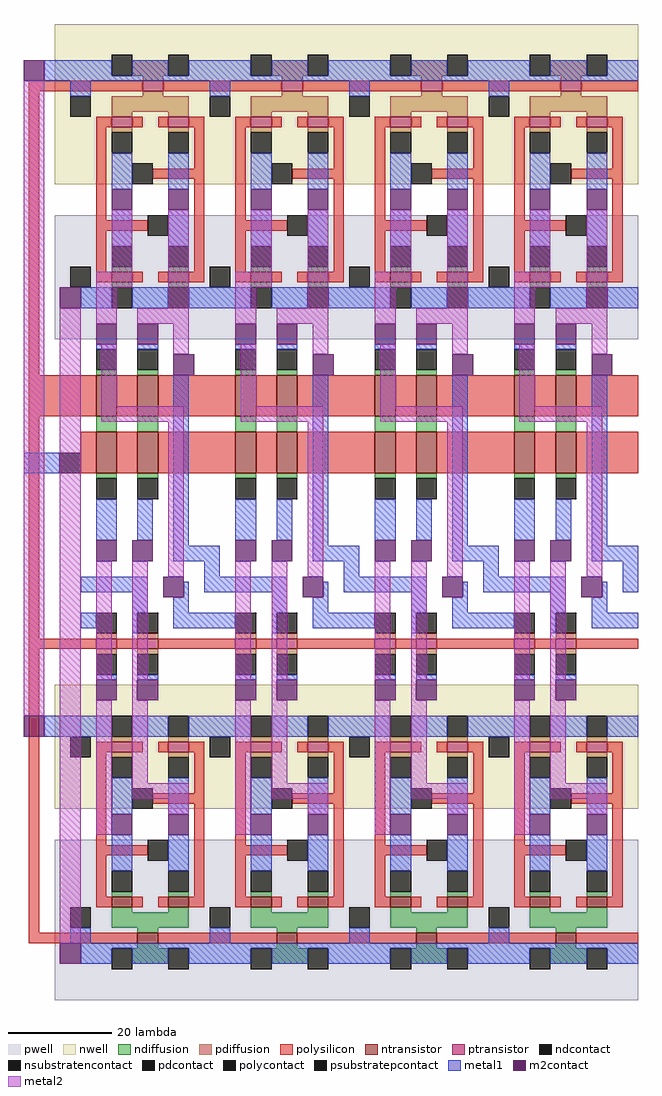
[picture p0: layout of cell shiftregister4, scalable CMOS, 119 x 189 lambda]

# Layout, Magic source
magic
tech scmos
<< nwell >>
rect -5 137 108 168
rect -5 16 108 40
<< pwell >>
rect -5 107 108 131
rect -5 -21 108 10
<< psubstratepcontact >>
rect -2 117 2 121
rect 25 117 29 121
rect 52 117 56 121
rect 79 117 83 121
rect -2 -7 2 -3
rect 25 -7 29 -3
rect 52 -7 56 -3
rect 79 -7 83 -3
<< nsubstratencontact >>
rect -2 150 2 154
rect 25 150 29 154
rect 52 150 56 154
rect 79 150 83 154
rect -2 26 2 30
rect 25 26 29 30
rect 52 26 56 30
rect 79 26 83 30
<< polysilicon >>
rect -10 155 0 157
rect -10 100 -8 155
rect -10 92 0 100
rect -10 49 -8 92
rect -10 47 0 49
rect -10 -8 -8 47
rect -10 -10 0 -8
<< polycontact >>
rect -4 81 0 85
<< metal1 >>
rect -7 158 1 161
rect -7 157 2 158
rect -2 154 2 157
rect 25 154 29 157
rect 52 154 56 159
rect 79 154 83 160
rect -11 81 -4 85
rect -7 30 3 34
rect -2 -10 2 -7
rect 25 -10 29 -7
rect 52 -10 56 -7
rect 79 -10 83 -7
<< m2contact >>
rect -11 157 -7 161
rect -4 113 0 117
rect -11 30 -7 34
rect -4 -14 0 -10
<< metal2 >>
rect -11 34 -7 157
rect -4 -10 0 113
use dflipflop  dflipflop_0
array 0 3 27 0 0 161
transform 1 0 11 0 1 135
box -11 -150 16 27
<< end >>

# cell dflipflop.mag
magic
tech scmos
<< ntransistor >>
rect -5 -17 -1 -15
rect 6 -17 10 -15
rect -8 -43 -4 -35
rect 0 -43 4 -35
rect -8 -54 -4 -46
rect 0 -54 4 -46
rect -5 -138 -1 -136
rect 6 -138 10 -136
rect 0 -145 4 -143
<< ptransistor >>
rect 1 20 5 22
rect -5 13 -1 15
rect 6 13 10 15
rect -8 -88 -4 -86
rect 0 -88 4 -86
rect -5 -108 -1 -106
rect 6 -108 10 -106
<< ndiffusion >>
rect -5 -15 -1 -14
rect 6 -15 10 -14
rect -5 -18 -1 -17
rect 6 -18 10 -17
rect -8 -35 -4 -34
rect 0 -35 4 -34
rect -8 -46 -4 -43
rect 0 -46 4 -43
rect -8 -55 -4 -54
rect 0 -55 4 -54
rect -5 -136 -1 -135
rect 6 -136 10 -135
rect -5 -139 -1 -138
rect 6 -139 10 -138
rect -5 -142 10 -139
rect 0 -143 4 -142
rect 0 -146 4 -145
rect -1 -149 6 -146
<< pdiffusion >>
rect -1 23 6 26
rect 1 22 5 23
rect 1 19 5 20
rect -5 16 10 19
rect -5 15 -1 16
rect 6 15 10 16
rect -5 12 -1 13
rect 6 12 10 13
rect -8 -86 -4 -85
rect 0 -86 4 -85
rect -8 -89 -4 -88
rect 0 -89 4 -88
rect -5 -106 -1 -105
rect 6 -106 10 -105
rect -5 -109 -1 -108
rect 6 -109 10 -108
<< ndcontact >>
rect -5 -14 -1 -10
rect 6 -14 10 -10
rect -5 -22 -1 -18
rect 6 -22 10 -18
rect -8 -34 -4 -30
rect 0 -34 4 -30
rect -8 -59 -4 -55
rect 0 -59 4 -55
rect -5 -135 -1 -131
rect 6 -135 10 -131
rect -5 -150 -1 -146
rect 6 -150 10 -146
<< pdcontact >>
rect -5 23 -1 27
rect 6 23 10 27
rect -5 8 -1 12
rect 6 8 10 12
rect -8 -85 -4 -81
rect 0 -85 4 -81
rect -8 -93 -4 -89
rect 0 -93 4 -89
rect -5 -105 -1 -101
rect 6 -105 10 -101
rect -5 -113 -1 -109
rect 6 -113 10 -109
<< polysilicon >>
rect -11 20 1 22
rect 5 20 16 22
rect -8 13 -5 15
rect -1 13 1 15
rect 4 13 6 15
rect 10 13 13 15
rect -8 -5 -6 13
rect 11 5 13 13
rect 3 3 13 5
rect -8 -7 2 -5
rect -8 -15 -6 -7
rect 11 -15 13 3
rect -8 -17 -5 -15
rect -1 -17 1 -15
rect 4 -17 6 -15
rect 10 -17 13 -15
rect -11 -43 -8 -35
rect -4 -43 0 -35
rect 4 -43 16 -35
rect -11 -54 -8 -46
rect -4 -54 0 -46
rect 4 -54 16 -46
rect -11 -88 -8 -86
rect -4 -88 0 -86
rect 4 -88 16 -86
rect -8 -108 -5 -106
rect -1 -108 1 -106
rect 4 -108 6 -106
rect 10 -108 13 -106
rect -8 -126 -6 -108
rect 11 -116 13 -108
rect 3 -118 13 -116
rect -8 -128 2 -126
rect -8 -136 -6 -128
rect 11 -136 13 -118
rect -8 -138 -5 -136
rect -1 -138 1 -136
rect 4 -138 6 -136
rect 10 -138 13 -136
rect -11 -145 0 -143
rect 4 -145 16 -143
<< polycontact >>
rect -1 2 3 6
rect 2 -8 6 -4
rect -1 -119 3 -115
rect 2 -129 6 -125
<< metal1 >>
rect -11 23 -5 26
rect -1 23 6 26
rect 10 23 16 26
rect -11 22 16 23
rect -5 1 -1 8
rect -5 -10 -1 -3
rect 6 1 10 8
rect 6 -10 10 -3
rect -11 -22 -5 -18
rect -1 -22 6 -18
rect 10 -22 16 -18
rect -8 -30 -4 -29
rect 0 -30 4 -29
rect -8 -67 -4 -59
rect 0 -67 3 -59
rect 7 -68 10 -35
rect 7 -71 16 -68
rect -11 -77 2 -74
rect -1 -81 2 -77
rect 9 -78 10 -75
rect 13 -77 16 -71
rect 7 -81 10 -78
rect -11 -84 -8 -81
rect -1 -85 0 -81
rect 7 -84 16 -81
rect -8 -94 -4 -93
rect 0 -94 4 -93
rect -11 -105 -5 -101
rect -1 -105 6 -101
rect 10 -105 16 -101
rect -5 -120 -1 -113
rect -5 -131 -1 -124
rect 6 -120 10 -113
rect 6 -131 10 -124
rect -11 -146 16 -145
rect -11 -149 -5 -146
rect -1 -149 6 -146
rect 10 -149 16 -146
<< m2contact >>
rect -5 -3 -1 1
rect 6 -3 10 1
rect -8 -29 -4 -25
rect 0 -29 4 -25
rect 7 -35 11 -31
rect -8 -71 -4 -67
rect -1 -71 3 -67
rect 5 -78 9 -74
rect -8 -98 -4 -94
rect 0 -98 4 -94
rect -5 -124 -1 -120
rect 6 -124 10 -120
<< metal2 >>
rect -5 -15 -1 -3
rect -8 -18 -1 -15
rect -8 -25 -4 -18
rect 6 -22 10 -3
rect 0 -25 10 -22
rect -7 -41 -4 -29
rect 7 -31 10 -25
rect -7 -44 9 -41
rect -8 -94 -5 -71
rect -1 -94 2 -71
rect 6 -74 9 -44
rect -1 -98 0 -94
rect -8 -124 -5 -98
rect -1 -114 2 -98
rect -1 -117 10 -114
rect 6 -120 10 -117
<< labels >>
rlabel metal1 15 -22 16 -18 7 Gnd
rlabel metal1 -11 -84 -10 -81 3 Dbar
rlabel metal1 15 -149 16 -145 8 Gnd
rlabel metal1 15 -84 16 -81 7 Qbar
rlabel metal1 13 -77 16 -76 7 Q
rlabel polysilicon 15 -88 16 -86 7 Clk
rlabel metal1 15 -105 16 -101 7 Vdd
rlabel polysilicon -11 20 -10 22 3 Clk
rlabel metal1 15 22 16 26 6 Vdd
rlabel polysilicon -11 -145 -10 -143 3 Clk
rlabel metal1 -11 -77 -10 -74 3 D
rlabel polysilicon -11 -43 -10 -35 3 En
rlabel polysilicon -11 -54 -10 -46 3 Clk
<< end >>
